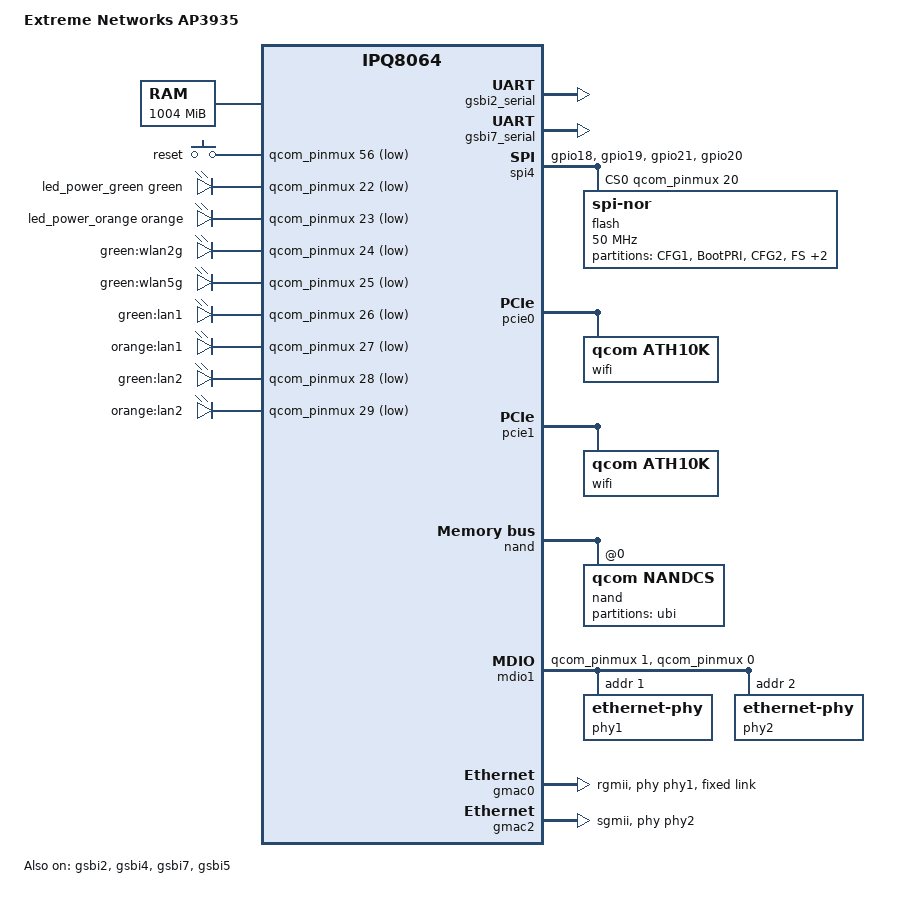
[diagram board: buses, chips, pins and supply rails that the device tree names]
// SPDX-License-Identifier: GPL-2.0-or-later OR MIT

#include "qcom-ipq8064-v2.0.dtsi"

#include <dt-bindings/input/input.h>
#include <dt-bindings/leds/common.h>
#include <dt-bindings/soc/qcom,tcsr.h>

/ {
	model = "Extreme Networks AP3935";
	compatible = "extreme,ap3935", "qcom,ipq8064";

	memory@0 {
		reg = <0x41400000 0x3ec00000>;
		device_type = "memory";
	};

	aliases {
		serial0 = &gsbi7_serial;
		serial1 = &gsbi2_serial;
		mdio-gpio0 = &mdio0;
		ethernet0 = &gmac0;
		ethernet1 = &gmac2;

		led-boot = &led_power_green;
		led-failsafe = &led_power_orange;
		led-running = &led_power_green;
		led-upgrade = &led_power_green;
	};

	chosen {
		stdout-path = "serial0:115200n8";
		bootargs-override = "ubi.block=0,0 root=/dev/ubiblock0_0";
	};

	keys {
		compatible = "gpio-keys";
		pinctrl-0 = <&button_pins>;
		pinctrl-names = "default";

		reset {
			label = "reset";
			gpios = <&qcom_pinmux 56 GPIO_ACTIVE_LOW>;
			linux,code = <KEY_RESTART>;
			debounce-interval = <60>;
			wakeup-source;
		};
	};

	leds {
		compatible = "gpio-leds";
		pinctrl-0 = <&led_pins>;
		pinctrl-names = "default";

		led_power_green: power_green {
			function = LED_FUNCTION_POWER;
			color = <LED_COLOR_ID_GREEN>;
			gpios = <&qcom_pinmux 22 GPIO_ACTIVE_LOW>;
		};

		led_power_orange: power_orange { 
			function = LED_FUNCTION_POWER;
			color = <LED_COLOR_ID_ORANGE>;
			gpios = <&qcom_pinmux 23 GPIO_ACTIVE_LOW>;
		};

		led_wlan2g_green {
			label = "green:wlan2g";
			gpios = <&qcom_pinmux 24 GPIO_ACTIVE_LOW>;
			linux,default-trigger = "phy0tpt";
		};

		led_wlan5g_green {
			label = "green:wlan5g";
			gpios = <&qcom_pinmux 25 GPIO_ACTIVE_LOW>;
			linux,default-trigger = "phy1tpt";
		};

		led_lan1_green {
			label = "green:lan1";
			gpios = <&qcom_pinmux 26 GPIO_ACTIVE_LOW>;
		};

		led_lan1_orange {
			label = "orange:lan1";
			gpios = <&qcom_pinmux 27 GPIO_ACTIVE_LOW>;
		};

		led_lan2_green {
			label = "green:lan2";
			gpios = <&qcom_pinmux 28 GPIO_ACTIVE_LOW>;
		};

		led_lan2_orange {
			label = "orange:lan2";
			gpios = <&qcom_pinmux 29 GPIO_ACTIVE_LOW>;
		};
	};
};


&qcom_pinmux {
	spi_pins: spi_pins {
		mux {
			pins = "gpio18", "gpio19";
			function = "gsbi5";
			drive-strength = <10>;
			bias-pull-down;
		};

		clk {
			pins = "gpio21";
			function = "gsbi5";
			drive-strength = <12>;
			bias-pull-down;
		};

		cs {
			pins = "gpio20";
			function = "gpio";
			drive-strength = <10>;
			bias-pull-up;
		};
	};

	led_pins: led_pins {
		mux {
			pins = "gpio22", "gpio23", "gpio24", "gpio25",
				    "gpio26", "gpio27", "gpio28", "gpio29";
			function = "gpio";
			drive-strength = <10>;
			bias-pull-up;
		};
	};

	button_pins: button_pins {
		mux {
			pins = "gpio56";
			function = "gpio";
			bias-pull-up;
		};
	};
};

&gsbi2 {
	qcom,mode = <GSBI_PROT_I2C_UART>;
	status = "okay";

	gsbi2_serial: serial@12490000 {
		status = "okay";
	};
};

&gsbi4 {
	qcom,mode = <GSBI_PROT_I2C_UART>;
	status = "okay";

	serial@16340000 {
		status = "disabled";
	};
};

&gsbi7 {
	qcom,mode = <GSBI_PROT_I2C_UART>;
	status = "okay";

	gsbi7_serial: serial@16640000 {
		status = "okay";
	};
};

&gsbi5 {
	qcom,mode = <GSBI_PROT_SPI>;
	status = "okay";

	spi4: spi@1a280000 {
		status = "okay";
		spi-max-frequency = <50000000>;

		pinctrl-0 = <&spi_pins>;
		pinctrl-names = "default";

		cs-gpios = <&qcom_pinmux 20 GPIO_ACTIVE_HIGH>;

		flash@0 {
			compatible = "jedec,spi-nor";
			spi-max-frequency = <50000000>;
			reg = <0>;

			partitions {
				compatible = "fixed-partitions";
				#address-cells = <1>;
				#size-cells = <1>;

				cfg1@2a0000 {
					compatible = "u-boot,env-redundant-bool";
					label = "CFG1";
					reg = <0x2a0000 0x0010000>;

					ethaddr: ethaddr {
						#nvmem-cell-cells = <1>;
					};
				};

				bootpri@2b0000 {
					label = "BootPRI";
					reg = <0x2b0000 0x0080000>;
				};

				cfg2@330000 {
					label = "CFG2";
					reg = <0x330000 0x0010000>;
				};

				fs@340000 {
					label = "FS";
					reg = <0x340000 0x0080000>;
				};

				priimg@3c0000 {
					label = "PriImg";
					reg = <0x3c0000 0x0e10000>;
				};

				secimg@11d0000 {
					label = "SecImg";
					reg = <0x11d0000 0x0e10000>;
				};
			};
		};
	};
};

&pcie0 {
	status = "okay";

	/delete-property/ pinctrl-0;
	/delete-property/ pinctrl-names;

	bridge@0,0 {
		reg = <0x00000000 0 0 0 0>;
		#address-cells = <3>;
		#size-cells = <2>;
		ranges;

		wifi@1,0 {
			compatible = "qcom,ath10k";
			status = "okay";
			reg = <0x00010000 0 0 0 0>;
		};
	};
};

&pcie1 {
	status = "okay";

	/delete-property/ pinctrl-0;
	/delete-property/ pinctrl-names;

	bridge@0,0 {
		reg = <0x00000000 0 0 0 0>;
		#address-cells = <3>;
		#size-cells = <2>;
		ranges;

		wifi@1,0 {
			compatible = "qcom,ath10k";
			status = "okay";
			reg = <0x00010000 0 0 0 0>;
		};
	};
};

&nand {
	status = "okay";

	pinctrl-0 = <&nand_pins>;
	pinctrl-names = "default";

	nand@0 {
		compatible = "qcom,nandcs";

		reg = <0>;

		nand-ecc-strength = <8>;
		nand-bus-width = <8>;
		nand-ecc-step-size = <512>;

		partitions {
			compatible = "fixed-partitions";
			#address-cells = <1>;
			#size-cells = <1>;
			
			ubi@0 {
				label = "ubi";
				reg = <0x0000000 0x20000000>;
			};
		};
	};
};

&soc {
	mdio1: mdio {
		compatible = "virtual,mdio-gpio";
		#address-cells = <1>;
		#size-cells = <0>;

		status = "okay";

		pinctrl-0 = <&mdio0_pins>;
		pinctrl-names = "default";

		gpios = <&qcom_pinmux 1 GPIO_ACTIVE_HIGH &qcom_pinmux 0 GPIO_ACTIVE_HIGH>;

		phy1: ethernet-phy@1 {
			reg = <1>;
		};

		phy2: ethernet-phy@2 {
			reg = <2>;
		};
	};
};

&gmac0 {
	status = "okay";

	qcom,id = <0>;
	mdiobus = <&mdio1>;

	phy-mode = "rgmii";
	phy-handle = <&phy1>;

	nvmem-cells = <&ethaddr 0>;
	nvmem-cell-names = "mac-address";

	fixed-link {
		speed = <1000>;
		full-duplex;
	};
};

&gmac2 {
	status = "okay";

	qcom,id = <2>;
	mdiobus = <&mdio1>;

	phy-mode = "sgmii";
	phy-handle = <&phy2>;

	nvmem-cells = <&ethaddr 1>;
	nvmem-cell-names = "mac-address";
};

&adm_dma {
	status = "okay";
};
